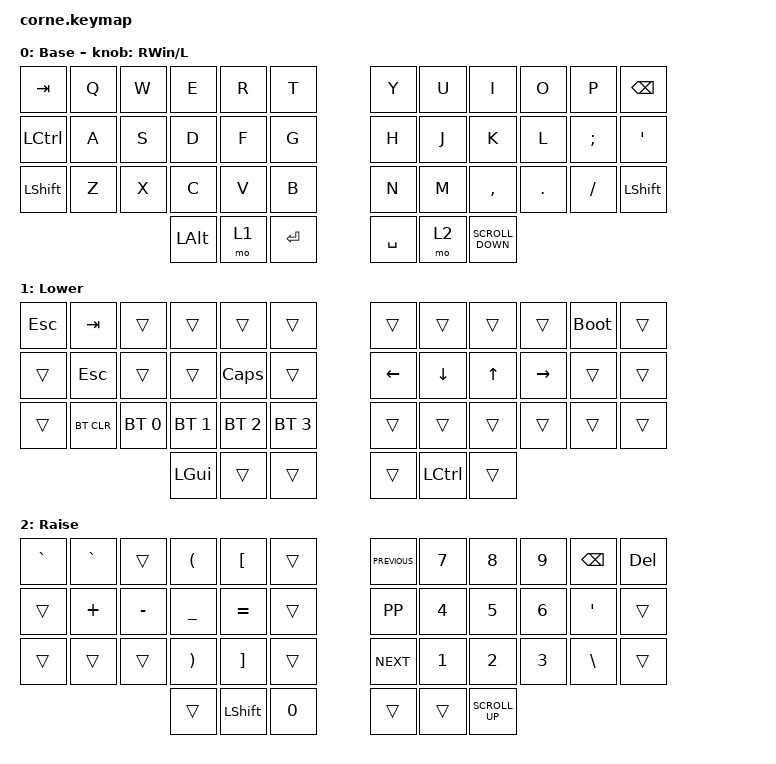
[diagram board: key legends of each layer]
/*
 * Copyright (c) 2020 The ZMK Contributors
 *
 * SPDX-License-Identifier: MIT
 */

#include <behaviors.dtsi>
#include <dt-bindings/zmk/bt.h>
#include <dt-bindings/zmk/keys.h>

/ {
    keymap {
        compatible = "zmk,keymap";

        default_layer {
            // -----------------------------------------------------------------------------------------
            // |  TAB |  Q  |  W  |  E  |  R  |  T  |   |  Y  |  U   |  I  |  O  |  P  | BKSP |
            // | CTRL |  A  |  S  |  D  |  F  |  G  |   |  H  |  J   |  K  |  L  |  ;  |  '   |
            // | SHFT |  Z  |  X  |  C  |  V  |  B  |   |  N  |  M   |  ,  |  .  |  /  | ESC  |
            //                    | GUI | LWR | SPC |   | ENT | RSE  | ALT |

            label = "Base";
            bindings = <
&kp TAB    &kp Q  &kp W  &kp E         &kp R  &kp T        &kp Y      &kp U  &kp I              &kp O    &kp P     &kp BSPC
&kp LCTRL  &kp A  &kp S  &kp D         &kp F  &kp G        &kp H      &kp J  &kp K              &kp L    &kp SEMI  &kp SQT
&kp LSHFT  &kp Z  &kp X  &kp C         &kp V  &kp B        &kp N      &kp M  &kp COMMA          &kp DOT  &kp FSLH  &kp LEFT_SHIFT
                         &kp LEFT_ALT  &mo 1  &kp ENTER    &kp SPACE  &mo 2  &kp K_SCROLL_DOWN
            >;

            sensor-bindings = <&inc_dec_kp RIGHT_WIN L>;
        };

        lower_layer {
            // -----------------------------------------------------------------------------------------
            // |  TAB |  1  |  2  |  3  |  4  |  5  |   |  6  |  7  |  8  |  9  |  0  | BKSP |
            // | BTCLR| BT1 | BT2 | BT3 | BT4 | BT5 |   | LFT | DWN |  UP | RGT |     |      |
            // | SHFT |     |     |     |     |     |   |     |     |     |     |     |      |
            //                    | GUI |     | SPC |   | ENT |     | ALT |

            label = "Lower";
            bindings = <
&kp ESCAPE  &kp TAB     &trans        &trans        &trans        &trans          &trans    &trans            &trans  &trans     &bootloader  &trans
&trans      &kp ESC     &trans        &trans        &kp CAPSLOCK  &trans          &kp LEFT  &kp DOWN          &kp UP  &kp RIGHT  &trans       &trans
&trans      &bt BT_CLR  &bt BT_SEL 0  &bt BT_SEL 1  &bt BT_SEL 2  &bt BT_SEL 3    &trans    &trans            &trans  &trans     &trans       &trans
                                      &kp LGUI      &trans        &trans          &trans    &kp LEFT_CONTROL  &trans
            >;
        };

        raise_layer {
            // -----------------------------------------------------------------------------------------
            // |  TAB |  !  |  @  |  #  |  $  |  %  |   |  ^  |  &  |  *  |  (  |  )  | BKSP |
            // | CTRL |     |     |     |     |     |   |  -  |  =  |  [  |  ]  |  \  |  `   |
            // | SHFT |     |     |     |     |     |   |  _  |  +  |  {  |  }  | "|" |  ~   |
            //                    | GUI |     | SPC |   | ENT |     | ALT |

            label = "Raise";
            bindings = <
&kp GRAVE  &kp GRAVE  &trans     &kp LEFT_PARENTHESIS   &kp LEFT_BRACKET   &trans          &kp K_PREVIOUS  &kp NUMBER_7  &kp NUMBER_8     &kp NUMBER_9  &kp BACKSPACE     &kp DEL
&trans     &kp PLUS   &kp MINUS  &kp UNDERSCORE         &kp EQUAL          &trans          &kp K_PP        &kp NUMBER_4  &kp NUMBER_5     &kp NUMBER_6  &kp SINGLE_QUOTE  &trans
&trans     &trans     &trans     &kp RIGHT_PARENTHESIS  &kp RIGHT_BRACKET  &trans          &kp C_NEXT      &kp NUMBER_1  &kp NUMBER_2     &kp NUMBER_3  &kp BACKSLASH     &trans
                                 &trans                 &kp LEFT_SHIFT     &kp NUMBER_0    &trans          &trans        &kp K_SCROLL_UP
            >;
        };
    };
};
